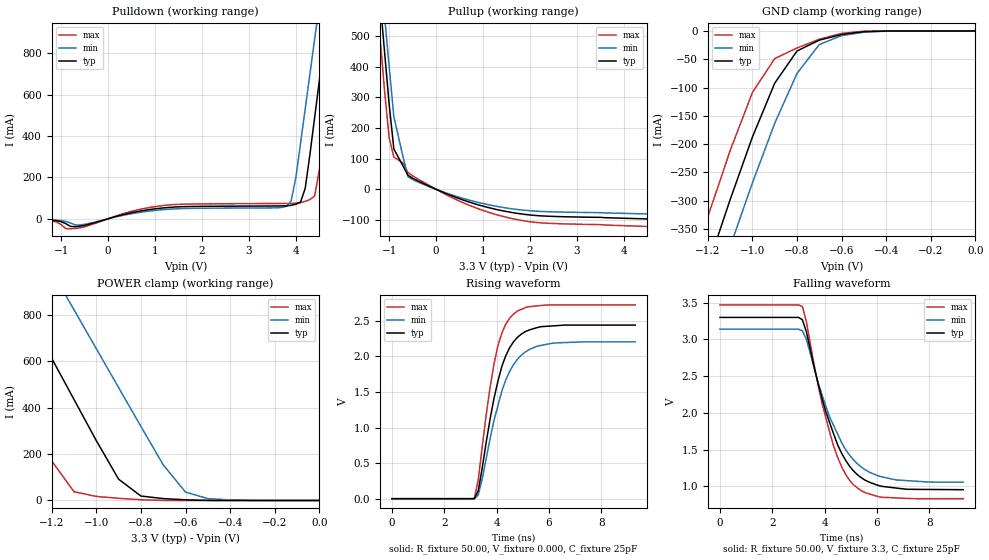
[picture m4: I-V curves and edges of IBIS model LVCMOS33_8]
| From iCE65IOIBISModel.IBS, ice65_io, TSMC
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|   Model LVCMOS33_8
[Model]   LVCMOS33_8
Model_type   I/O
Polarity   Non-Inverting
Enable   Active-High
Vinl =   0.80V
Vinh =   2.00V
Vmeas =   1.65V
Cref =  15.00pF
Rref =   1.00M
Vref =  0.000V
C_comp   1.30pF   1.17pF   1.43pF
[Temperature Range]   25.00   85   -40.00
[Voltage Range]   3.30V   3.14V   3.47V
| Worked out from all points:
|   slope of the pulldown table from 0 to 0.495 V, typ, clamps not added: 17 ohm
|   slope of the pullup table from 0 to 0.495 V, typ, clamps not added: 16.2 ohm
|   GND clamp passes 1 mA (typ) near -0.49 V on its own axis
|   POWER clamp passes 1 mA (typ) near -0.52 V on its own axis
|   rising waveform, R_fixture 50.00, V_fixture 0.000, C_fixture 25pF: 20-80 % time 819ps typ, 930ps min, 686ps max; typ from 0 V to 2.44 V
|   falling waveform, R_fixture 50.00, V_fixture 3.3, C_fixture 25pF: 20-80 % time 1.22ns typ, 1.34ns min, 1.09ns max; typ from 3.3 V to 0.955 V
[Pulldown]
| voltage I(typ) I(min) I(max)
-3.3V     -4.6mA     -4.7mA     -4.4mA
-800mV    -36.8mA    -20.4mA    -48.2mA
1.2V      53.1mA     44.5mA     64.8mA
3.8V      62.7mA     60.4mA     74.4mA
3.9V      65.2mA     86.2mA     74.6mA
4.1V      80.8mA     364.4mA    78mA
4.3V      311.2mA    699.7mA    92.7mA
4.4V      488.8mA    867.5mA    110.3mA
4.6V      844.1mA    1.203A     422.7mA
4.8V      1.2A       1.539A     802.9mA
4.9V      1.378A     1.707A     993.1mA
6.6V      4.415A     4.578A     4.273A
[Pullup]
| voltage I(typ) I(min) I(max)
-3.3V     4.37A      4.273A     4.698A
-1.3V     806.8mA    904.7mA    698.5mA
-1.2V     629mA      736.7mA    508.6mA
-1.1V     451.3mA    568.7mA    324.1mA
-1V       277.6mA    400.7mA    168.2mA
-900mV    131.8mA    236.7mA    105.1mA
-700mV    74.5mA     102.8mA    85.1mA
-600mV    45.9mA     41mA       54.7mA
-200mV    13.9mA     11.9mA     17.2mA
900mV     -50.7mA    -42.8mA    -63.5mA
2V        -83.7mA    -69.9mA    -105.8mA
6.6V      -105.9mA   -87.7mA    -132.3mA
[GND_clamp]
| voltage I(typ) I(min) I(max)
-3.3V     -3.012A    -3.025A    -3.003A
-1.3V     -535.7mA   -613.6mA   -451.3mA
-1.2V     -416mA     -496.9mA   -328.6mA
-1.1V     -298.4mA   -381.6mA   -211.7mA
-1V       -187.5mA   -268.6mA   -108.7mA
-900mV    -92.3mA    -163.2mA   -48.7mA
-800mV    -35.3mA    -75mA      -30mA
-700mV    -16.1mA    -23.8mA    -14.5mA
-600mV    -6.1mA     -8.1mA     -4.2mA
-500mV    -1.1mA     -2.1mA     -300uA
-400mV    0A         -200uA     0A
0V        0A         0A         0A
[POWER_clamp]
| voltage I(typ) I(min) I(max)
-3.3V     4.348A     4.521A     4.231A
-1.6V     1.323A     1.661A     927.7mA
-1.5V     1.145A     1.493A     738mA
-1.4V     967.6mA    1.325A     548.3mA
-1.3V     790.1mA    1.157A     358.6mA
-1.2V     612.7mA    989.4mA    170.5mA
-1.1V     435.3mA    821.8mA    37.7mA
-900mV    91.8mA     486.6mA    9.4mA
-800mV    19.2mA     319.1mA    3.2mA
-700mV    8.2mA      153.7mA    300uA
-600mV    3mA        36.2mA     0A
0V        0A         0A         0A
[Ramp]
| variable   typ   min   max
dV/dt_r   1.465/4.2908n   1.3235/4.4685n   1.6354/4.0745n
dV/dt_f   1.4062/1.4299n   1.2497/1.5793n   1.581/1.2899n
R_load = 50
[Rising Waveform]
R_fixture = 50.00
V_fixture = 0.000
V_fixture_min = 0.000
V_fixture_max = 0.000
L_fixture = 0.000H
C_fixture = 25pF
| time   V(typ)   V(min)   V(max)
0s        0V         0V         0V
3.15ns    100uV      100uV      3.2mV
3.3ns     111.3mV    52.3mV     267.2mV
3.6ns     786.4mV    559.3mV    1.168V
3.9ns     1.409V     1.099V     1.892V
4.2ns     1.858V     1.512V     2.326V
4.65ns    2.208V     1.887V     2.597V
5.25ns    2.373V     2.098V     2.701V
6.15ns    2.43V      2.188V     2.725V
9.3ns     2.442V     2.206V     2.725V
[Falling Waveform]
R_fixture = 50.00
V_fixture = 3.3
V_fixture_min = 3.14
V_fixture_max = 3.47
L_fixture = 0.000H
C_fixture = 25pF
| time   V(typ)   V(min)   V(max)
0s        3.3V       3.14V      3.47V
3.15ns    3.268V     3.117V     3.449V
3.3ns     3.108V     3.003V     3.248V
3.9ns     2.198V     2.245V     2.131V
4.35ns    1.708V     1.824V     1.542V
4.8ns     1.357V     1.502V     1.166V
5.25ns    1.16V      1.309V     979.8mV
6ns       1.019V     1.15V      865.8mV
6.75ns    976.8mV    1.088V     843.2mV
9.3ns     955.3mV    1.058V     832.6mV
